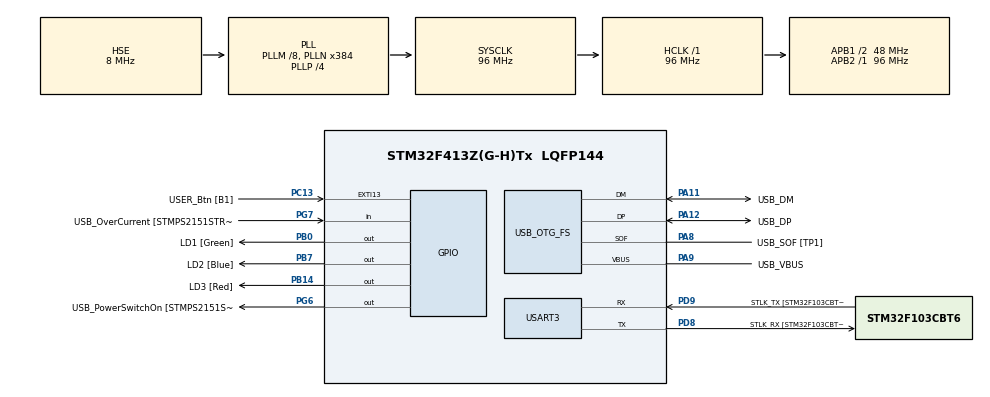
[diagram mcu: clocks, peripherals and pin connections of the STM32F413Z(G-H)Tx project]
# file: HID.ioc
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Mcu.Family=STM32F4
Mcu.Name=STM32F413Z(G-H)Tx
Mcu.Package=LQFP144
Mcu.UserConstants=CUSTOM_HID_EPIN_SIZE,64;CUSTOM_HID_EPOUT_SIZE,64
NVIC.OTG_FS_IRQn=true\:0\:0\:false\:false\:true\:false\:true\:true
NVIC.PriorityGroup=NVIC_PRIORITYGROUP_4
PA10.GPIO_Label=USB_ID
PA10.Signal=USB_OTG_FS_ID
PA11.GPIO_Label=USB_DM
PA11.Mode=Device_Only
PA11.Signal=USB_OTG_FS_DM
PA12.GPIO_Label=USB_DP
PA12.Mode=Device_Only
PA12.Signal=USB_OTG_FS_DP
PA13.GPIO_Label=TMS
PA13.Mode=Serial_Wire
PA13.Signal=SYS_JTMS-SWDIO
PA14.GPIO_Label=TCK
PA14.Mode=Serial_Wire
PA14.Signal=SYS_JTCK-SWCLK
PA8.GPIO_Label=USB_SOF [TP1]
PA8.Mode=Activate_SOF_FS
PA8.Signal=USB_OTG_FS_SOF
PA9.GPIO_Label=USB_VBUS
PA9.Mode=Activate_VBUS
PA9.Signal=USB_OTG_FS_VBUS
PB0.GPIO_Label=LD1 [Green]
PB0.Signal=GPIO_Output
PB14.GPIO_Label=LD3 [Red]
PB14.Signal=GPIO_Output
PB3.GPIO_Label=SWO
PB3.Signal=SYS_JTDO-SWO
PB7.GPIO_Label=LD2 [Blue]
PB7.Signal=GPIO_Output
PC13.GPIO_Label=USER_Btn [B1]
PC13.Signal=GPXTI13
PC14-OSC32_IN.Mode=LSE-External-Oscillator
PC14-OSC32_IN.Signal=RCC_OSC32_IN
PC15-OSC32_OUT.Mode=LSE-External-Oscillator
PC15-OSC32_OUT.Signal=RCC_OSC32_OUT
PD8.GPIO_Label=STLK_RX [STM32F103CBT6_PA3]
PD8.Mode=Asynchronous
PD8.Signal=USART3_TX
PD9.GPIO_Label=STLK_TX [STM32F103CBT6_PA2]
PD9.Mode=Asynchronous
PD9.Signal=USART3_RX
PG6.GPIO_Label=USB_PowerSwitchOn [STMPS2151STR_EN]
PG6.Signal=GPIO_Output
PG7.GPIO_Label=USB_OverCurrent [STMPS2151STR_FAULT]
PG7.Signal=GPIO_Input
PH0\ -\ OSC_IN.GPIO_Label=MCO
PH0\ -\ OSC_IN.Mode=HSE-External-Clock-Source
PH0\ -\ OSC_IN.Signal=RCC_OSC_IN
PH1\ -\ OSC_OUT.Mode=HSE-External-Clock-Source
PH1\ -\ OSC_OUT.Signal=RCC_OSC_OUT
ProjectManager.HeapSize=0x200
ProjectManager.StackSize=0x400
ProjectManager.TargetToolchain=STM32CubeIDE
RCC.48MHZClocksFreq_Value=24000000
RCC.AHBFreq_Value=96000000
RCC.APB1CLKDivider=RCC_HCLK_DIV2
RCC.APB1Freq_Value=48000000
RCC.APB1TimFreq_Value=96000000
RCC.APB2Freq_Value=96000000
RCC.APB2TimFreq_Value=96000000
RCC.CortexFreq_Value=96000000
RCC.HCLKFreq_Value=96000000
RCC.HSE_VALUE=8000000
RCC.HSI_VALUE=16000000
RCC.PLLM=8
RCC.PLLMUL=RCC_PLL_MUL9
RCC.PLLN=384
RCC.PLLP=RCC_PLLP_DIV4
RCC.PLLQ=8
RCC.PRESCALERUSB=RCC_USBCLKSOURCE_PLL_DIV1_5
RCC.SYSCLKFreq_VALUE=96000000
RCC.SYSCLKSource=RCC_SYSCLKSOURCE_PLLCLK
RCC.SYSCLKSourceVirtual=RCC_SYSCLKSOURCE_PLLCLK
RCC.USBFreq_Value=48000000
RCC.VCOOutputFreq_Value=384000000
USART3.VirtualMode=VM_ASYNC
USB_DEVICE.CLASS_NAME_FS=CUSTOM_HID
USB_DEVICE.PID_CUSTOMHID_FS=0x5716
USB_DEVICE.PRODUCT_STRING_CUSTOMHID_FS=MultiHID
USB_DEVICE.USBD_CUSTOMHID_OUTREPORT_BUF_SIZE=64
USB_DEVICE.USBD_CUSTOM_HID_REPORT_DESC_SIZE=197
USB_DEVICE.VID=0x483
USB_DEVICE.VirtualMode=CustomHid
USB_DEVICE.VirtualModeFS=Custom_Hid_FS
USB_OTG_FS.VirtualMode=Device_Only
VP_USB_DEVICE_VS_USB_DEVICE_CUSTOM_HID_FS.Mode=CUSTOM_HID_FS
board=NUCLEO-F413ZH

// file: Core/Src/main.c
/* USER CODE BEGIN Header */
/**
  ******************************************************************************
  * @file           : main.c
  * @brief          : Main program body
  ******************************************************************************
  * @attention
  *
  * Copyright (c) 2022 STMicroelectronics.
  * All rights reserved.
  *
  * This software is licensed under terms that can be found in the LICENSE file
  * in the root directory of this software component.
  * If no LICENSE file comes with this software, it is provided AS-IS.
  *
  ******************************************************************************
  */
/* USER CODE END Header */
#include "main.h"
#include "usb_device.h"

/* USER CODE BEGIN Includes */
#include "usbd_customhid.h"
/* USER CODE END Includes */

UART_HandleTypeDef huart3;

void SystemClock_Config(void);
static void MX_GPIO_Init(void);
static void MX_USART3_UART_Init(void);

int main(void)
{

  /* MCU Configuration--------------------------------------------------------*/

  /* Reset of all peripherals, Initializes the Flash interface and the Systick. */
  HAL_Init();

  /* Configure the system clock */
  SystemClock_Config();

  /* Initialize all configured peripherals */
  MX_GPIO_Init();
  MX_USART3_UART_Init();
  MX_USB_DEVICE_Init();

  /* Infinite loop */
  /* USER CODE BEGIN WHILE */
  uint8_t keyboardBuffer[9] = {1, 0};
  int8_t mouseBuffer[5] = {2, 0};
  uint8_t joystickBuffer[22] = {3, 0};
  uint8_t isPressed = 0;
  uint8_t repId = 0;
  while (1)
  {
	  HAL_Delay(100);
	  HAL_GPIO_TogglePin(LD2_GPIO_Port, LD2_Pin);
	  if((HAL_GPIO_ReadPin(USER_Btn_GPIO_Port, USER_Btn_Pin) == GPIO_PIN_SET) && (isPressed == 0) && (repId == 0))
	  {
		  keyboardBuffer[4] = 4; //key 'A'
		  USBD_CUSTOM_HID_SendReport(&hUsbDeviceFS, keyboardBuffer, 9);
		  isPressed = 1;
	  }
	  if((HAL_GPIO_ReadPin(USER_Btn_GPIO_Port, USER_Btn_Pin) == GPIO_PIN_RESET) && (isPressed != 0) && (repId == 0))
	  {
		  keyboardBuffer[4] = 0; //key released
		  USBD_CUSTOM_HID_SendReport(&hUsbDeviceFS, keyboardBuffer, 9);
		  isPressed = 0;
	  }
	  if(HAL_GPIO_ReadPin(USER_Btn_GPIO_Port, USER_Btn_Pin) == GPIO_PIN_SET)
	  {
		  if(repId == 1)
		  {
			  mouseBuffer[4] = rand() % 3 - 1;	//scroll wheel value
			  USBD_CUSTOM_HID_SendReport(&hUsbDeviceFS, (uint8_t*)mouseBuffer, 5);
		  }

		  if(repId == 2)
		  {
			  uint8_t val = rand() % 0xFE;
			  joystickBuffer[2] =
			  joystickBuffer[4] =
			  joystickBuffer[6] =
			  joystickBuffer[8] = val;
			  joystickBuffer[10] =
			  joystickBuffer[12] =
			  joystickBuffer[14] =
			  joystickBuffer[16] = val >> 1;
			  joystickBuffer[17] = val % 9;
			  joystickBuffer[18] =
			  joystickBuffer[19] =
			  joystickBuffer[20] =
			  joystickBuffer[21] =val;
			  USBD_CUSTOM_HID_SendReport(&hUsbDeviceFS, joystickBuffer, 22);
		  }

		  repId = (repId + 1) % 3;
	  }

    /* USER CODE END WHILE */

  }
}

void SystemClock_Config(void)
{
  RCC_OscInitTypeDef RCC_OscInitStruct = {0};
  RCC_ClkInitTypeDef RCC_ClkInitStruct = {0};

  /** Configure the main internal regulator output voltage
  */
  __HAL_RCC_PWR_CLK_ENABLE();
  __HAL_PWR_VOLTAGESCALING_CONFIG(PWR_REGULATOR_VOLTAGE_SCALE1);

  /** Initializes the RCC Oscillators according to the specified parameters
  * in the RCC_OscInitTypeDef structure.
  */
  RCC_OscInitStruct.OscillatorType = RCC_OSCILLATORTYPE_HSE;
  RCC_OscInitStruct.HSEState = RCC_HSE_BYPASS;
  RCC_OscInitStruct.PLL.PLLState = RCC_PLL_ON;
  RCC_OscInitStruct.PLL.PLLSource = RCC_PLLSOURCE_HSE;
  RCC_OscInitStruct.PLL.PLLM = 8;
  RCC_OscInitStruct.PLL.PLLN = 384;
  RCC_OscInitStruct.PLL.PLLP = RCC_PLLP_DIV4;
  RCC_OscInitStruct.PLL.PLLQ = 8;
  RCC_OscInitStruct.PLL.PLLR = 2;
  if (HAL_RCC_OscConfig(&RCC_OscInitStruct) != HAL_OK)
  {
    Error_Handler();
  }

  /** Initializes the CPU, AHB and APB buses clocks
  */
  RCC_ClkInitStruct.ClockType = RCC_CLOCKTYPE_HCLK|RCC_CLOCKTYPE_SYSCLK
                              |RCC_CLOCKTYPE_PCLK1|RCC_CLOCKTYPE_PCLK2;
  RCC_ClkInitStruct.SYSCLKSource = RCC_SYSCLKSOURCE_PLLCLK;
  RCC_ClkInitStruct.AHBCLKDivider = RCC_SYSCLK_DIV1;
  RCC_ClkInitStruct.APB1CLKDivider = RCC_HCLK_DIV2;
  RCC_ClkInitStruct.APB2CLKDivider = RCC_HCLK_DIV1;

  if (HAL_RCC_ClockConfig(&RCC_ClkInitStruct, FLASH_LATENCY_3) != HAL_OK)
  {
    Error_Handler();
  }
}

static void MX_USART3_UART_Init(void)
{

  huart3.Instance = USART3;
  huart3.Init.BaudRate = 115200;
  huart3.Init.WordLength = UART_WORDLENGTH_8B;
  huart3.Init.StopBits = UART_STOPBITS_1;
  huart3.Init.Parity = UART_PARITY_NONE;
  huart3.Init.Mode = UART_MODE_TX_RX;
  huart3.Init.HwFlowCtl = UART_HWCONTROL_NONE;
  huart3.Init.OverSampling = UART_OVERSAMPLING_16;
  if (HAL_UART_Init(&huart3) != HAL_OK)
  {
    Error_Handler();
  }

}

static void MX_GPIO_Init(void)
{
  GPIO_InitTypeDef GPIO_InitStruct = {0};

  /* GPIO Ports Clock Enable */
  __HAL_RCC_GPIOC_CLK_ENABLE();
  __HAL_RCC_GPIOH_CLK_ENABLE();
  __HAL_RCC_GPIOB_CLK_ENABLE();
  __HAL_RCC_GPIOD_CLK_ENABLE();
  __HAL_RCC_GPIOG_CLK_ENABLE();
  __HAL_RCC_GPIOA_CLK_ENABLE();

  /*Configure GPIO pin Output Level */
  HAL_GPIO_WritePin(GPIOB, LD1_Pin|LD3_Pin|LD2_Pin, GPIO_PIN_RESET);

  /*Configure GPIO pin Output Level */
  HAL_GPIO_WritePin(USB_PowerSwitchOn_GPIO_Port, USB_PowerSwitchOn_Pin, GPIO_PIN_RESET);

  /*Configure GPIO pin : USER_Btn_Pin */
  GPIO_InitStruct.Pin = USER_Btn_Pin;
  GPIO_InitStruct.Mode = GPIO_MODE_IT_RISING;
  GPIO_InitStruct.Pull = GPIO_NOPULL;
  HAL_GPIO_Init(USER_Btn_GPIO_Port, &GPIO_InitStruct);

  /*Configure GPIO pins : LD1_Pin LD3_Pin LD2_Pin */
  GPIO_InitStruct.Pin = LD1_Pin|LD3_Pin|LD2_Pin;
  GPIO_InitStruct.Mode = GPIO_MODE_OUTPUT_PP;
  GPIO_InitStruct.Pull = GPIO_NOPULL;
  GPIO_InitStruct.Speed = GPIO_SPEED_FREQ_LOW;
  HAL_GPIO_Init(GPIOB, &GPIO_InitStruct);

  /*Configure GPIO pin : USB_PowerSwitchOn_Pin */
  GPIO_InitStruct.Pin = USB_PowerSwitchOn_Pin;
  GPIO_InitStruct.Mode = GPIO_MODE_OUTPUT_PP;
  GPIO_InitStruct.Pull = GPIO_NOPULL;
  GPIO_InitStruct.Speed = GPIO_SPEED_FREQ_LOW;
  HAL_GPIO_Init(USB_PowerSwitchOn_GPIO_Port, &GPIO_InitStruct);

  /*Configure GPIO pin : USB_OverCurrent_Pin */
  GPIO_InitStruct.Pin = USB_OverCurrent_Pin;
  GPIO_InitStruct.Mode = GPIO_MODE_INPUT;
  GPIO_InitStruct.Pull = GPIO_NOPULL;
  HAL_GPIO_Init(USB_OverCurrent_GPIO_Port, &GPIO_InitStruct);

}

void Error_Handler(void)
{
  __disable_irq();
  while (1)
  {
  }
}
